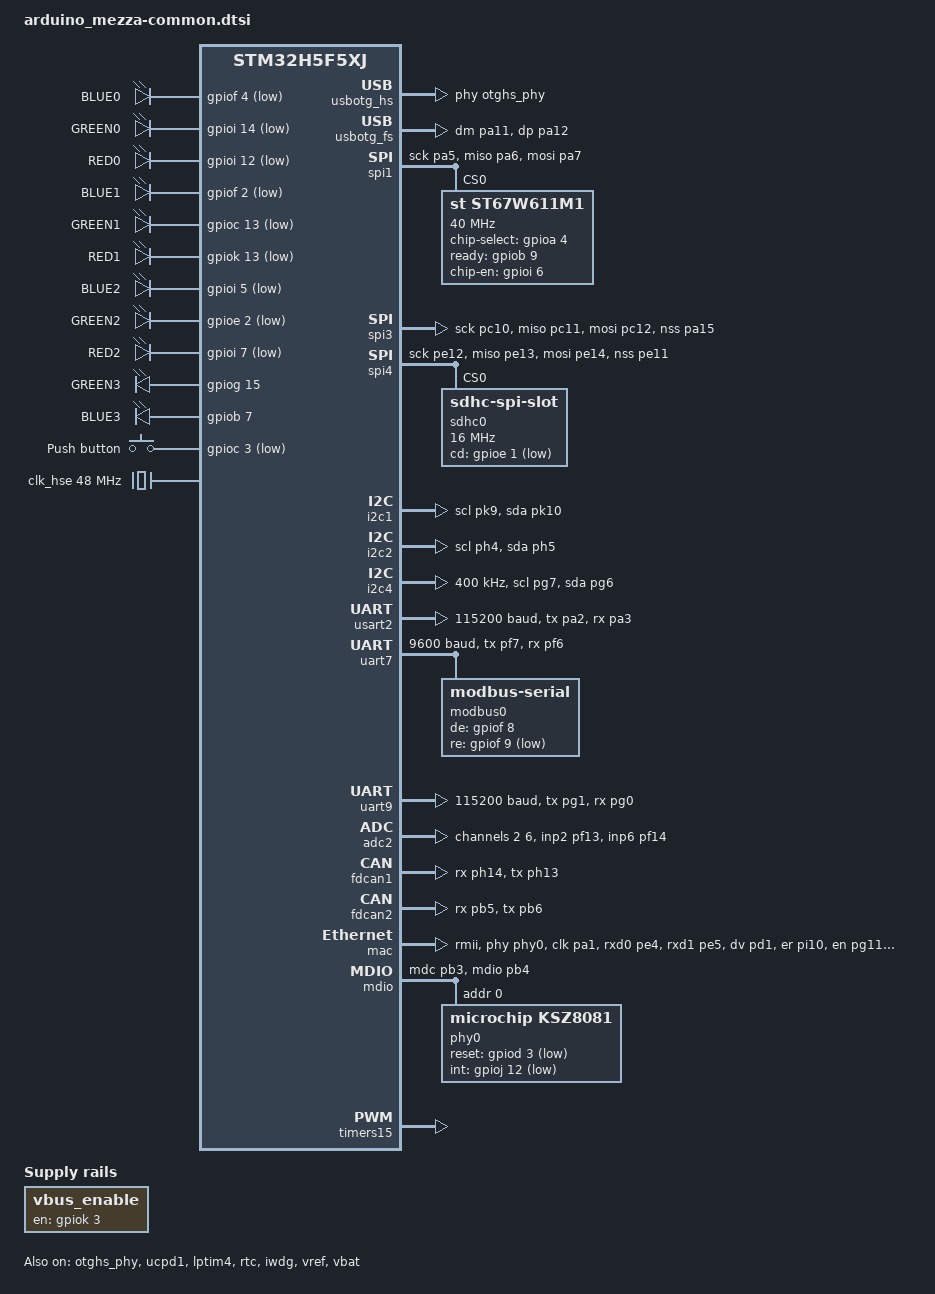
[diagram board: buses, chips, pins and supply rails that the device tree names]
/*
 * Copyright (c) 2026 Arduino SA
 *
 * SPDX-License-Identifier: Apache-2.0
 */

#include <st/h5/stm32h5f5Xj.dtsi>
#include <st/h5/stm32h5f5ljhxq-pinctrl.dtsi>
#include <zephyr/dt-bindings/sensor/qdec_stm32.h>
#include <zephyr/dt-bindings/led/led.h>
#include <zephyr/dt-bindings/clock/stm32h5_clock.h>
#include <zephyr/dt-bindings/input/input-event-codes.h>

/ {
	leds: leds {
		compatible = "gpio-leds";

		blue_led_0: led_1 {
			gpios = <&gpiof 4 GPIO_ACTIVE_LOW>;
			label = "BLUE0";
		};

		green_led_0: led_2 {
			gpios = <&gpioi 14 GPIO_ACTIVE_LOW>;
			label = "GREEN0";
		};

		red_led_0: led_3 {
			gpios = <&gpioi 12 GPIO_ACTIVE_LOW>;
			label = "RED0";
		};

		blue_led_1: led_4 {
			gpios = <&gpiof 2 GPIO_ACTIVE_LOW>;
			label = "BLUE1";
		};

		green_led_1: led_5 {
			gpios = <&gpioc 13 GPIO_ACTIVE_LOW>;
			label = "GREEN1";
		};

		red_led_1: led_6 {
			gpios = <&gpiok 13 GPIO_ACTIVE_LOW>;
			label = "RED1";
		};

		blue_led_2: led_7 {
			gpios = <&gpioi 5 GPIO_ACTIVE_LOW>;
			label = "BLUE2";
		};

		green_led_2: led_8 {
			gpios = <&gpioe 2 GPIO_ACTIVE_LOW>;
			label = "GREEN2";
		};

		red_led_2: led_9 {
			gpios = <&gpioi 7 GPIO_ACTIVE_LOW>;
			label = "RED2";
		};

		radio_led: led_10 {
			gpios = <&gpiog 15 GPIO_ACTIVE_HIGH>;
			label = "GREEN3";
		};

		eth_led: led_11 {
			gpios = <&gpiob 7 GPIO_ACTIVE_HIGH>;
			label = "BLUE3";
		};
	};

	rgb_led_0: led0 {
		compatible = "leds-group-multicolor";

		leds = <&red_led_0>, <&green_led_0>, <&blue_led_0>;
		color-mapping = <LED_COLOR_ID_RED>,
				<LED_COLOR_ID_GREEN>,
				<LED_COLOR_ID_BLUE>;
	};

	rgb_led_1: led1 {
		compatible = "leds-group-multicolor";

		leds = <&red_led_1>, <&green_led_1>, <&blue_led_1>;
		color-mapping = <LED_COLOR_ID_RED>,
				<LED_COLOR_ID_GREEN>,
				<LED_COLOR_ID_BLUE>;
	};

	rgb_led_2: led2 {
		compatible = "leds-group-multicolor";

		leds = <&red_led_2>, <&green_led_2>, <&blue_led_2>;
		color-mapping = <LED_COLOR_ID_RED>,
				<LED_COLOR_ID_GREEN>,
				<LED_COLOR_ID_BLUE>;
	};

	vbus_enable: vbus_enable {
		compatible = "regulator-fixed";
		regulator-name = "vbus_enable";
		enable-gpios = <&gpiok 3 GPIO_ACTIVE_HIGH>;
		startup-delay-us = <20000>;
		regulator-boot-on;
		regulator-always-on;
	};

	buttons {
		compatible = "gpio-keys";

		button0: button_0 {
			gpios = <&gpioc 3 (GPIO_PULL_UP | GPIO_ACTIVE_LOW)>;
			zephyr,code = <INPUT_KEY_0>;
			label = "Push button";
		};
	};
};

&flash0 {
	partitions {
		compatible = "fixed-partitions";
		#address-cells = <1>;
		#size-cells = <1>;

		boot_partition: partition@0 {
			label = "mcuboot";
			reg = <0x00000000 DT_SIZE_K(64)>;
		};

		slot0_partition: partition@10000 {
			label = "image-0";
			reg = <0x00010000 DT_SIZE_K(2016)>;
		};

		slot1_partition: partition@100000 {
			label = "image-1";
			reg = <0x00208000 DT_SIZE_K(2016)>;
		};
	};
};

&otghs_phy {
	clocks = <&rcc STM32_CLOCK(AHB2, 13)>,
	         <&rcc STM32_SRC_HSE OTGHS_SEL(2)>,
		 <&rcc STM32_SRC_HSE OTGPHYREFCK_SEL(10)>;
	status = "okay";
};

zephyr_udc0: &usbotg_hs {
	phys = <&otghs_phy>;
	maximum-speed = "high-speed";
	pinctrl-0 = <>;
	pinctrl-names = "default";
	status = "okay";
};

zephyr_udc1: &usbotg_fs {
	pinctrl-0 = <&usb_otg_fs_dm_pa11 &usb_otg_fs_dp_pa12>;
	pinctrl-names = "default";
	status = "okay";
};

&ucpd1 {
	psc-ucpdclk = <2>;
	hbitclkdiv = <14>;
	pinctrl-0 = <&ucpd1_cc1_pb13 &ucpd1_cc2_pb14>;
	pinctrl-names = "default";
	status = "okay";
};

/*
 * ------------------------------- CLOCKS
 */

&clk_hse {
	clock-frequency = <DT_FREQ_M(48)>;
	status = "okay";
};

&clk_hsi48 {
	crs-usb-sof;
	status = "okay";
};

&clk_hsi {
	status = "okay";
};

&clk_lse {
	status = "okay";
};

&clk_lsi {
	status = "okay";
};

&lptim4 {
	clocks = <&rcc STM32_CLOCK(APB3, 13)>,
		 <&rcc STM32_SRC_LSI LPTIM4_SEL(4)>;
	status = "okay";
};


&pll {
	div-m = <12>;
	mul-n = <125>;
	div-p = <2>;
	div-q = <2>;
	div-r = <2>;
	clocks = <&clk_hse>;
	status = "okay";
};

&pll2 {
	div-m = <4>;
	mul-n = <20>;
	div-p = <2>;
	div-q = <2>;
	div-r = <2>;
	clocks = <&clk_hse>;
	status = "okay";
};

&pll3 {
	div-m = <6>;
	mul-n = <32>;
	div-p = <2>;
	div-q = <4>;
	div-r = <2>;
	clocks = <&clk_hse>;
	status = "okay";
};

&rcc {
	clocks = <&pll>;
	clock-frequency = <DT_FREQ_M(250)>;
	ahb-prescaler = <1>;
	apb1-prescaler = <1>;
	apb2-prescaler = <1>;
	apb3-prescaler = <1>;
};

/*
 * SPI
 */

/* spi to radio controller */
&spi1 {
	pinctrl-0 = <&spi1_sck_pa5 &spi1_miso_pa6 &spi1_mosi_pa7>;
	pinctrl-names = "default";
	/delete-property/ cs-gpios;
	/*cs-gpios = <&gpiob 12 (GPIO_ACTIVE_LOW | GPIO_PULL_UP)>;*/
	status = "okay";

	st67w611m1: st67w611m1@0 {
		compatible = "st,st67w611m1";
		reg = <0>;
		spi-max-frequency = <DT_FREQ_M(40)>;
		chip-select-gpios = <&gpioa 4 GPIO_ACTIVE_HIGH>;
		ready-gpios = <&gpiob 9 GPIO_ACTIVE_HIGH>;
		chip-en-gpios = <&gpioi 6 GPIO_ACTIVE_HIGH>;
		status = "okay";
	};
};

/* to mezza1 but unused */
&spi3 {
	pinctrl-0 = <&spi3_sck_pc10 &spi3_miso_pc11 &spi3_mosi_pc12 &spi3_nss_pa15>;
	pinctrl-names = "default";
	/*cs-gpios = <&gpioa 15 (GPIO_ACTIVE_LOW | GPIO_PULL_UP)>;*/
};

/* SD card */
&pinctrl {
	spi4_sck_pe12: spi4_sck_pe12 {
		slew-rate = "low-speed";
	};

	spi4_miso_pe13: spi4_miso_pe13 {
		slew-rate = "low-speed";
	};

	spi4_mosi_pe14: spi4_mosi_pe14 {
		slew-rate = "low-speed";
	};

	spi4_nss_pe11: spi4_nss_pe11 {
		slew-rate = "low-speed";
	};
};

&spi4 {
	pinctrl-0 = <&spi4_sck_pe12 &spi4_miso_pe13 &spi4_mosi_pe14 &spi4_nss_pe11>;
	pinctrl-names = "default";
	clocks = <&rcc 0xa4 0x80000>,
		 <&rcc STM32_SRC_PLL3_Q SPI4_SEL(2)>;
	dmas = <&gpdma1 0 48
		(STM32_DMA_MEMORY_TO_PERIPH | STM32_DMA_PERIPH_NO_INC | STM32_DMA_MEM_INC |
		 STM32_DMA_PERIPH_8BITS)>,
	       <&gpdma1 1 47
		(STM32_DMA_PERIPH_TO_MEMORY | STM32_DMA_PERIPH_NO_INC | STM32_DMA_MEM_INC |
		 STM32_DMA_PERIPH_8BITS)>;
	dma-names = "tx", "rx";
	status = "okay";

	sdhc0: sdhc@0 {
		compatible = "zephyr,sdhc-spi-slot";
		reg = <0>;
		spi-max-frequency = <16000000>;
		cd-gpios = <&gpioe 1 (GPIO_ACTIVE_LOW | GPIO_PULL_UP)>;
		status = "okay";

		mmc {
			compatible = "zephyr,sdmmc-disk";
			disk-name = "SD";
			status = "okay";
		};
	};
};

/*
 * I2C
 */

/* QWIIC */
&i2c1 { //I3C1 ****
	pinctrl-0 = <&i2c1_scl_pk9 &i2c1_sda_pk10>;
	pinctrl-names = "default";
	status = "okay";
};

/* expansion connector */
&i2c2 { // I3C2 ****
	pinctrl-0 = <&i2c2_scl_ph4 &i2c2_sda_ph5>;
	pinctrl-names = "default";
	status = "okay";
};

/* secure element */
&i2c4 {
	clock-frequency = <I2C_BITRATE_FAST>;
	pinctrl-0 = <&i2c4_scl_pg7 &i2c4_sda_pg6>;
	pinctrl-names = "default";
	status = "okay";
};

/*
 * UART
 */

/* expansion uart */
&usart2 {
	pinctrl-0 = <&usart2_tx_pa2 &usart2_rx_pa3>;
	pinctrl-names = "default";
	current-speed = <115200>;
	status = "okay";
};

/* RS485 */
&uart7 {
	pinctrl-0 = <&uart7_tx_pf7 &uart7_rx_pf6>;
	pinctrl-names = "default";
	current-speed = <9600>;
	status = "okay";
	modbus0 {
		compatible = "zephyr,modbus-serial";
		status = "okay";
		de-gpios = <&gpiof 8 GPIO_ACTIVE_HIGH>;
		re-gpios = <&gpiof 9 GPIO_ACTIVE_LOW>;
	};
};

/* modem */
&uart9 {
	pinctrl-0 = <&uart9_tx_pg1 &uart9_rx_pg0>;
	pinctrl-names = "default";
	current-speed = <115200>;
	status = "okay";
};

/*
 *  ADC
 */

&adc2 {
	clocks = <&rcc STM32_CLOCK(AHB2, 10)>,
		 <&rcc STM32_SRC_HCLK ADCDAC_SEL(0)>;
	clock-names = "adcx", "adc_ker";
	pinctrl-0 = <&adc2_inp2_pf13 &adc2_inp6_pf14>;
	pinctrl-names = "default";
	st,adc-clock-source = "ASYNC";
	st,adc-prescaler = <6>;
	status = "okay";

	#address-cells = <1>;
	#size-cells = <0>;

	channel@2 {
		reg = <2>;
		zephyr,gain = "ADC_GAIN_1";
		zephyr,reference = "ADC_REF_INTERNAL";
		zephyr,acquisition-time = <ADC_ACQ_TIME_DEFAULT>;
		zephyr,resolution = <12>;
	};

	channel@6 {
		reg = <6>;
		zephyr,gain = "ADC_GAIN_1";
		zephyr,reference = "ADC_REF_INTERNAL";
		zephyr,acquisition-time = <ADC_ACQ_TIME_DEFAULT>;
		zephyr,resolution = <12>;
	};
};

/*
 *  CAN
 */

/* connettori su scheda */
&fdcan1 {
	pinctrl-0 = <&fdcan1_rx_ph14 &fdcan1_tx_ph13>;
	pinctrl-names = "default";
	clk-divider = <1>;
	//phys = <&can_transceiver0>;
	status = "okay";
};

/* connettore di espansione */
&fdcan2 {
	pinctrl-0 = <&fdcan2_rx_pb5 &fdcan2_tx_pb6>;
	pinctrl-names = "default";
	clk-divider = <1>;
	status = "okay";
};

/*
 * ETHERNET
 */
&mac {
	/* Only the RMII data and clock pins go here */
	pinctrl-0 = <&eth_rmii_ref_clk_pa1
		     &eth_rmii_rxd0_pe4
		     &eth_rmii_rxd1_pe5
		     &eth_rmii_crs_dv_pd1
		     &eth_mii_rx_er_pi10
		     &eth_rmii_tx_en_pg11
		     &eth_rmii_txd0_pg13
		     &eth_rmii_txd1_pg14>;
	pinctrl-names = "default";
	phy-connection-type = "rmii";
	/* TODO: get mac address from unique serial number */
	zephyr,random-mac-address;
	phy-handle = <&phy0>;
	status = "okay";
};

&mdio {
	/* The management pins go here! */
	pinctrl-0 = <&eth_mdc_pb3 &eth_mdio_pb4>;
	pinctrl-names = "default";
	status = "okay";

	phy0: ethernet-phy@0 {
		compatible = "microchip,ksz8081";
		reg = <0>;
		microchip,interface-type = "rmii-25MHz";
		reset-gpios = <&gpiod 3 GPIO_ACTIVE_LOW>;
		int-gpios = <&gpioj 12 (GPIO_ACTIVE_LOW | GPIO_PULL_UP)>;
		status = "okay";
	};
};

/*
 * RTC
 */

&rtc {
	clocks = <&rcc STM32_CLOCK(APB3, 21)>,
		 <&rcc STM32_SRC_LSE RTC_SEL(1)>;
	status = "okay";
};

/*
 * DMA
 */

&gpdma1 {
	status = "okay";
};

&gpdma2 {
	status = "okay";
};

&iwdg {
	status = "okay";
};

&vref {
	status = "okay";
};

&vbat {
	status = "okay";
};

&timers15 {
	st,prescaler = <254>;
	status = "okay";

	pwm15: pwm {
		status = "okay";
		pinctrl-0 = <&tim15_ch1_pi14>;
		pinctrl-names = "default";
		four-channel-capture-support;
	};
};
